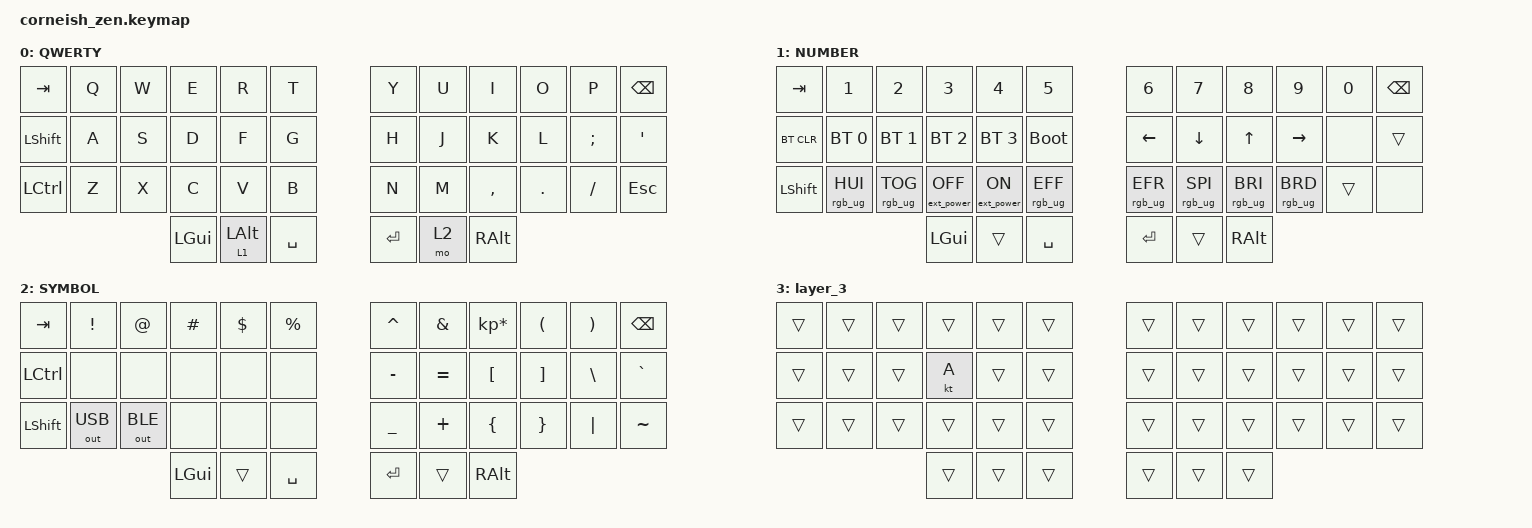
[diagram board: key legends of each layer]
/*
*
* Copyright (c) 2021 Darryl deHaan
* SPDX-License-Identifier: MIT
*
*/

#include <behaviors.dtsi>
#include <dt-bindings/zmk/bt.h>
#include <dt-bindings/zmk/ext_power.h>
#include <dt-bindings/zmk/keys.h>
#include <dt-bindings/zmk/keys.h>
#include <dt-bindings/zmk/outputs.h>
#include <dt-bindings/zmk/rgb.h>

/ {
    chosen {
        zmk,matrix_transform = &default_transform;

        // zmk,matrix_transform = &five_column_transform;
    };
};

/ {
    keymap {
        compatible = "zmk,keymap";

        default_layer {
            display-name = "QWERTY";

            // --------------------------------------------------------------------------------
            // |  TAB |  Q  |  W  |  E  |  R  |  T  |   |  Y  |  U   |  I  |  O  |  P  | BKSP |
            // | CTRL |  A  |  S  |  D  |  F  |  G  |   |  H  |  J   |  K  |  L  |  ;  |  '   |
            // | SHFT |  Z  |  X  |  C  |  V  |  B  |   |  N  |  M   |  ,  |  .  |  /  | ESC  |
            //                    | GUI | LWR | SPC |   | ENT | RSE  | ALT |

            bindings = <
&kp TAB     &kp Q  &kp W  &kp E     &kp R           &kp T        &kp Y    &kp U  &kp I      &kp O    &kp P     &kp BSPC
&kp LSHIFT  &kp A  &kp S  &kp D     &kp F           &kp G        &kp H    &kp J  &kp K      &kp L    &kp SEMI  &kp SQT
&kp LCTRL   &kp Z  &kp X  &kp C     &kp V           &kp B        &kp N    &kp M  &kp COMMA  &kp DOT  &kp FSLH  &kp ESC
                          &kp LGUI  &lt 1 LEFT_ALT  &kp SPACE    &kp RET  &mo 2  &kp RALT
            >;
        };

        lower_layer {
            display-name = "NUMBER";

            // -----------------------------------------------------------------------------------------
            // |  TAB |  1  |  2  |  3  |  4  |  5  |   |  6  |  7  |  8  |  9  |  0  | BKSP |
            // | BTCLR| BT1 | BT2 | BT3 | BT4 | BT5 |   | LFT | DWN |  UP | RGT |     |      |
            // | SHFT |     |     |     |     |     |   |     |     |     |     |     |      |
            //                    | GUI |     | SPC |   | ENT |     | ALT |

            bindings = <
&kp TAB     &kp N1           &kp N2           &kp N3             &kp N4            &kp N5             &kp N6           &kp N7           &kp N8           &kp N9           &kp N0  &kp BSPC
&bt BT_CLR  &bt BT_SEL 0     &bt BT_SEL 1     &bt BT_SEL 2       &bt BT_SEL 3      &bootloader        &kp LEFT         &kp DOWN         &kp UP           &kp RIGHT        &none   &trans
&kp LSHFT   &rgb_ug RGB_HUI  &rgb_ug RGB_TOG  &ext_power EP_OFF  &ext_power EP_ON  &rgb_ug RGB_EFF    &rgb_ug RGB_EFR  &rgb_ug RGB_SPI  &rgb_ug RGB_BRI  &rgb_ug RGB_BRD  &trans  &none
                                              &kp LGUI           &trans            &kp SPACE          &kp RET          &trans           &kp RALT
            >;
        };

        raise_layer {
            display-name = "SYMBOL";

            // -----------------------------------------------------------------------------------------
            // |  TAB |  !  |  @  |  #  |  $  |  %  |   |  ^  |  &  |  *  |  (  |  )  | BKSP |
            // | CTRL |     |     |     |     |     |   |  -  |  =  |  [  |  ]  |  \  |  `   |
            // | SHFT |     |     |     |     |     |   |  _  |  +  |  {  |  }  | "|" |  ~   |
            //                    | GUI |     | SPC |   | ENT |     | ALT |

            bindings = <
&kp TAB    &kp EXCL      &kp AT        &kp HASH  &kp DLLR  &kp PRCNT    &kp CARET  &kp AMPS   &kp KP_MULTIPLY  &kp LPAR  &kp RPAR  &kp BSPC
&kp LCTRL  &none         &none         &none     &none     &none        &kp MINUS  &kp EQUAL  &kp LBKT         &kp RBKT  &kp BSLH  &kp GRAVE
&kp LSHFT  &out OUT_USB  &out OUT_BLE  &none     &none     &none        &kp UNDER  &kp PLUS   &kp LBRC         &kp RBRC  &kp PIPE  &kp TILDE
                                       &kp LGUI  &trans    &kp SPACE    &kp RET    &trans     &kp RALT
            >;
        };

        layer_3 {
            bindings = <
&trans  &trans  &trans  &trans  &trans  &trans    &trans  &trans  &trans  &trans  &trans  &trans
&trans  &trans  &trans  &kt A   &trans  &trans    &trans  &trans  &trans  &trans  &trans  &trans
&trans  &trans  &trans  &trans  &trans  &trans    &trans  &trans  &trans  &trans  &trans  &trans
                        &trans  &trans  &trans    &trans  &trans  &trans
            >;
        };
    };
};
